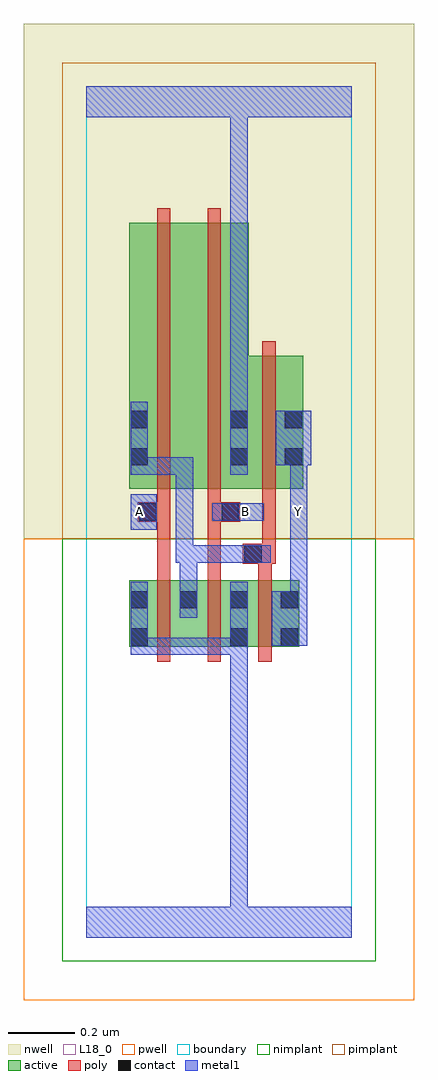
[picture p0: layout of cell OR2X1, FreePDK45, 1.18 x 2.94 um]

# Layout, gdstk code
import gdstk
lib = gdstk.Library(unit=1e-6, precision=1e-09)
def R(c, l, rs):  # rectangles x0, y0, x1, y1
    for r in rs: c.add(gdstk.rectangle(r[:2], r[2:], *l))
def A(c, l, x, y, w, h, nx, ny, dx, dy):  # array of equal rectangles
    R(c, l, [(x+i*dx, y+j*dy, x+i*dx+w, y+j*dy+h) for i in range(nx) for j in range(ny)])
active = (1, 0)
pwell = (2, 0)
nwell = (3, 0)
nimplant = (4, 0)
pimplant = (5, 0)
poly = (9, 0)
contact = (10, 0)
metal1 = (11, 0)
L18_0 = (18, 0)
boundary = (235, 0)

or2x1 = lib.new_cell('OR2X1')
R(or2x1, active, [(0.13,0.874,0.19,1.074), (0.13,0.874,0.338,1.074), (0.278,0.874,0.49,1.074), (0.43,0.874,0.49,1.074), (0.43,0.874,0.642,1.074), (0.582,0.874,0.642,1.074), (0.278,0.956,0.338,1.074), (0.13,1.35,0.31,2.15), (0.13,1.35,0.19,2.044), (0.31,1.35,0.49,2.15), (0.43,1.35,0.654,1.75), (0.43,1.35,0.49,1.702), (0.594,1.35,0.654,1.644)])
R(or2x1, pwell, [(-0.188,-0.188,0.988,1.2)])
R(or2x1, nwell, [(-0.188,1.2,0.988,2.748)])
R(or2x1, nimplant, [(-0.072,-0.072,0.872,1.2)])
R(or2x1, pimplant, [(-0.072,1.2,0.872,2.632)])
A(or2x1, poly, 0.214, 0.83, 0.04, 0.288, 3, 1, 0.152, 0)
R(or2x1, poly, [(0.214,1.078,0.254,1.29), (0.366,1.078,0.406,1.29), (0.518,1.078,0.558,1.164), (0.472,1.124,0.57,1.184), (0.53,1.144,0.57,1.346), (0.53,1.144,0.57,1.184), (0.53,1.144,0.57,1.184), (0.156,1.25,0.254,1.31), (0.366,1.25,0.406,1.29), (0.366,1.25,0.406,1.29), (0.366,1.25,0.464,1.31), (0.214,1.27,0.254,1.31), (0.214,1.27,0.254,1.31), (0.214,1.27,0.254,1.346), (0.366,1.27,0.406,1.346), (0.214,1.306,0.254,2.194), (0.366,1.306,0.406,2.194), (0.53,1.306,0.57,1.794)])
A(or2x1, contact, 0.282, 0.99, 0.052, 0.052, 3, 1, 0.152, 0)
R(or2x1, contact, [(0.134,0.878,0.186,0.93), (0.434,0.878,0.486,0.93), (0.586,0.878,0.638,0.93), (0.134,0.99,0.186,1.042), (0.476,1.128,0.528,1.18), (0.16,1.254,0.212,1.306), (0.408,1.254,0.46,1.306), (0.134,1.42,0.186,1.472), (0.434,1.42,0.486,1.472), (0.598,1.42,0.65,1.472), (0.134,1.532,0.186,1.584), (0.434,1.532,0.486,1.584), (0.598,1.532,0.65,1.584)])
R(or2x1, metal1, [(0,0,0.8,0.092), (0.434,0.04,0.486,0.092), (0.434,0.04,0.486,0.092), (0.434,0.04,0.486,0.092), (0.434,0.04,0.486,0.092), (0.434,0.04,0.486,0.092), (0.434,0.04,0.486,0.092), (0.434,0.04,0.486,0.092), (0.434,0.04,0.486,0.092), (0.434,0.04,0.486,0.092), (0.434,0.04,0.486,0.092), (0.434,0.04,0.486,0.092), (0.434,0.04,0.486,0.092), (0.434,0.04,0.486,0.902), (0.134,0.85,0.186,0.902), (0.134,0.85,0.186,0.902), (0.134,0.85,0.186,1.07), (0.134,0.85,0.322,0.902), (0.27,0.85,0.322,0.902), (0.27,0.85,0.322,0.902), (0.27,0.85,0.322,0.902), (0.27,0.85,0.486,0.902), (0.434,0.85,0.486,0.902), (0.434,0.85,0.486,0.902), (0.434,0.85,0.486,0.902), (0.434,0.85,0.486,0.902), (0.434,0.85,0.486,1.07), (0.558,0.878,0.666,1.042), (0.282,0.962,0.334,1.07), (0.614,0.99,0.666,1.278), (0.282,1.018,0.334,1.18), (0.27,1.128,0.322,1.444), (0.27,1.128,0.334,1.18), (0.282,1.128,0.334,1.18), (0.282,1.128,0.334,1.18), (0.282,1.128,0.5,1.18), (0.448,1.128,0.5,1.18), (0.448,1.128,0.5,1.18), (0.448,1.128,0.556,1.18), (0.134,1.226,0.212,1.334), (0.614,1.226,0.666,1.334), (0.38,1.254,0.534,1.306), (0.614,1.282,0.666,1.472), (0.134,1.392,0.186,1.444), (0.134,1.392,0.186,1.444), (0.134,1.392,0.186,1.444), (0.134,1.392,0.186,1.444), (0.134,1.392,0.186,1.612), (0.134,1.392,0.322,1.444), (0.27,1.392,0.322,1.444), (0.434,1.392,0.486,1.612), (0.57,1.42,0.678,1.584), (0.614,1.42,0.666,1.472), (0.614,1.42,0.666,1.472), (0.434,1.56,0.486,1.612), (0.434,1.56,0.486,1.612), (0.434,1.56,0.486,2.52), (0,2.468,0.8,2.56), (0.434,2.468,0.486,2.52), (0.434,2.468,0.486,2.52), (0.434,2.468,0.486,2.52), (0.434,2.468,0.486,2.52), (0.434,2.468,0.486,2.52), (0.434,2.468,0.486,2.52)])
R(or2x1, L18_0, [(0,0,0.8,0.092), (0.434,0.04,0.486,0.092), (0.434,0.04,0.486,0.092), (0.434,0.04,0.486,0.092), (0.434,0.04,0.486,0.092), (0.434,0.04,0.486,0.092), (0.434,0.04,0.486,0.092), (0.434,0.04,0.486,0.092), (0.434,0.04,0.486,0.092), (0.434,0.04,0.486,0.092), (0.434,0.04,0.486,0.092), (0.434,0.04,0.486,0.092), (0.434,0.04,0.486,0.092), (0.434,0.04,0.486,0.902), (0.134,0.85,0.186,1.07), (0.134,0.85,0.186,0.902), (0.134,0.85,0.186,0.902), (0.134,0.85,0.322,0.902), (0.27,0.85,0.322,0.902), (0.27,0.85,0.322,0.902), (0.27,0.85,0.322,0.902), (0.27,0.85,0.486,0.902), (0.434,0.85,0.486,1.07), (0.434,0.85,0.486,0.902), (0.434,0.85,0.486,0.902), (0.434,0.85,0.486,0.902), (0.434,0.85,0.486,0.902), (0.558,0.878,0.666,1.042), (0.614,0.99,0.666,1.278), (0.134,1.226,0.212,1.334), (0.614,1.226,0.666,1.334), (0.134,1.254,0.186,1.306), (0.38,1.254,0.534,1.306), (0.454,1.254,0.506,1.306), (0.614,1.254,0.666,1.306), (0.614,1.282,0.666,1.472), (0.434,1.392,0.486,1.612), (0.57,1.42,0.678,1.584), (0.614,1.42,0.666,1.472), (0.614,1.42,0.666,1.472), (0.434,1.56,0.486,1.612), (0.434,1.56,0.486,1.612), (0.434,1.56,0.486,2.52), (0,2.468,0.8,2.56), (0.434,2.468,0.486,2.52), (0.434,2.468,0.486,2.52), (0.434,2.468,0.486,2.52), (0.434,2.468,0.486,2.52), (0.434,2.468,0.486,2.52), (0.434,2.468,0.486,2.52)])
R(or2x1, boundary, [(0,0,0.8,2.56)])
or2x1.add(gdstk.Label('A', (0.16,1.28), layer=11, texttype=0))
or2x1.add(gdstk.Label('B', (0.48,1.28), layer=11, texttype=0))
or2x1.add(gdstk.Label('Y', (0.64,1.28), layer=11, texttype=0))

lib.write_gds('OR2X1.gds')
